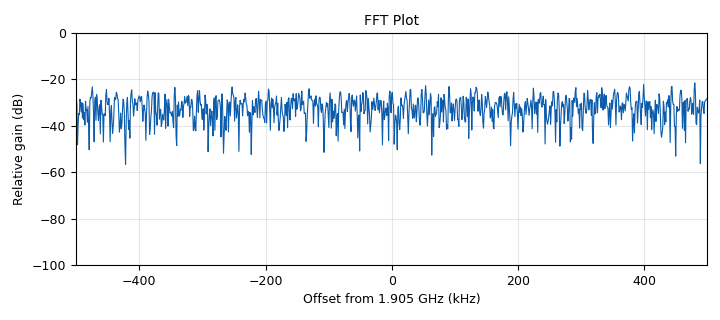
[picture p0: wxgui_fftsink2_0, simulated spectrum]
<?xml version='1.0' encoding='utf-8'?>
<?grc format='1' created='3.7.9'?>
<flow_graph>
<block>
<key>options</key>
<param><key>id</key><value>top_block</value></param>
<param><key>category</key><value>Custom</value></param>
<param><key>generate_options</key><value>wx_gui</value></param>
</block>
<block>
<key>variable</key>
<param><key>id</key><value>M</value></param>
<param><key>value</key><value>4</value></param>
</block>
<block>
<key>variable</key>
<param><key>id</key><value>freq</value></param>
<param><key>value</key><value>1.905e9</value></param>
</block>
<block>
<key>variable</key>
<param><key>id</key><value>gain</value></param>
<param><key>value</key><value>70</value></param>
</block>
<block>
<key>variable</key>
<param><key>id</key><value>samp_rate</value></param>
<param><key>value</key><value>1000e3</value></param>
</block>
<block>
<key>analog_noise_source_x</key>
<param><key>id</key><value>analog_noise_source_x_0</value></param>
<param><key>amp</key><value>1</value></param>
<param><key>noise_type</key><value>analog.GR_GAUSSIAN</value></param>
<param><key>type</key><value>complex</value></param>
<param><key>seed</key><value>0</value></param>
</block>
<block>
<key>analog_sig_source_x</key>
<param><key>id</key><value>analog_sig_source_x_0</value></param>
<param><key>amp</key><value>1</value></param>
<param><key>_enabled</key><value>0</value></param>
<param><key>freq</key><value>100e3</value></param>
<param><key>offset</key><value>0</value></param>
<param><key>type</key><value>complex</value></param>
<param><key>samp_rate</key><value>samp_rate</value></param>
<param><key>waveform</key><value>analog.GR_SIN_WAVE</value></param>
</block>
<block>
<key>osmosdr_sink</key>
<param><key>id</key><value>osmosdr_sink_0</value></param>
<param><key>bb_gain0</key><value>40</value></param>
<param><key>bw0</key><value>samp_rate</value></param>
<param><key>freq0</key><value>freq</value></param>
<param><key>if_gain0</key><value>40</value></param>
<param><key>gain0</key><value>gain</value></param>
<param><key>args</key><value></value></param>
<param><key>type</key><value>fc32</value></param>
<param><key>sample_rate</key><value>samp_rate</value></param>
<param><key>sync</key><value></value></param>
</block>
<block>
<key>osmosdr_source</key>
<param><key>id</key><value>osmosdr_source_0</value></param>
<param><key>bb_gain0</key><value>20</value></param>
<param><key>bw0</key><value>samp_rate</value></param>
<param><key>freq0</key><value>freq</value></param>
<param><key>gain_mode0</key><value>False</value></param>
<param><key>if_gain0</key><value>20</value></param>
<param><key>gain0</key><value>gain</value></param>
<param><key>args</key><value></value></param>
<param><key>_enabled</key><value>0</value></param>
<param><key>type</key><value>fc32</value></param>
<param><key>sample_rate</key><value>samp_rate</value></param>
<param><key>sync</key><value></value></param>
</block>
<block>
<key>wxgui_fftsink2</key>
<param><key>id</key><value>wxgui_fftsink2_0</value></param>
<param><key>avg_alpha</key><value>0</value></param>
<param><key>average</key><value>False</value></param>
<param><key>baseband_freq</key><value>freq</value></param>
<param><key>fft_size</key><value>1024</value></param>
<param><key>freqvar</key><value>None</value></param>
<param><key>peak_hold</key><value>False</value></param>
<param><key>ref_level</key><value>0</value></param>
<param><key>ref_scale</key><value>2.0</value></param>
<param><key>fft_rate</key><value>15</value></param>
<param><key>samp_rate</key><value>samp_rate</value></param>
<param><key>title</key><value>FFT Plot</value></param>
<param><key>type</key><value>complex</value></param>
<param><key>win</key><value>window.hanning</value></param>
<param><key>y_divs</key><value>10</value></param>
<param><key>y_per_div</key><value>10</value></param>
</block>
<block>
<key>wxgui_fftsink2</key>
<param><key>id</key><value>wxgui_fftsink2_0_0</value></param>
<param><key>avg_alpha</key><value>0</value></param>
<param><key>average</key><value>False</value></param>
<param><key>baseband_freq</key><value>freq</value></param>
<param><key>_enabled</key><value>0</value></param>
<param><key>fft_size</key><value>1024</value></param>
<param><key>freqvar</key><value>None</value></param>
<param><key>peak_hold</key><value>False</value></param>
<param><key>ref_level</key><value>0</value></param>
<param><key>ref_scale</key><value>2.0</value></param>
<param><key>fft_rate</key><value>15</value></param>
<param><key>samp_rate</key><value>samp_rate</value></param>
<param><key>title</key><value>FFT Plot</value></param>
<param><key>type</key><value>complex</value></param>
<param><key>win</key><value>None</value></param>
<param><key>y_divs</key><value>10</value></param>
<param><key>y_per_div</key><value>10</value></param>
</block>
<connection><source_block_id>analog_noise_source_x_0</source_block_id><sink_block_id>osmosdr_sink_0</sink_block_id><source_key>0</source_key><sink_key>0</sink_key></connection>
<connection><source_block_id>analog_noise_source_x_0</source_block_id><sink_block_id>wxgui_fftsink2_0</sink_block_id><source_key>0</source_key><sink_key>0</sink_key></connection>
<connection><source_block_id>osmosdr_source_0</source_block_id><sink_block_id>wxgui_fftsink2_0_0</sink_block_id><source_key>0</source_key><sink_key>0</sink_key></connection>
</flow_graph>
